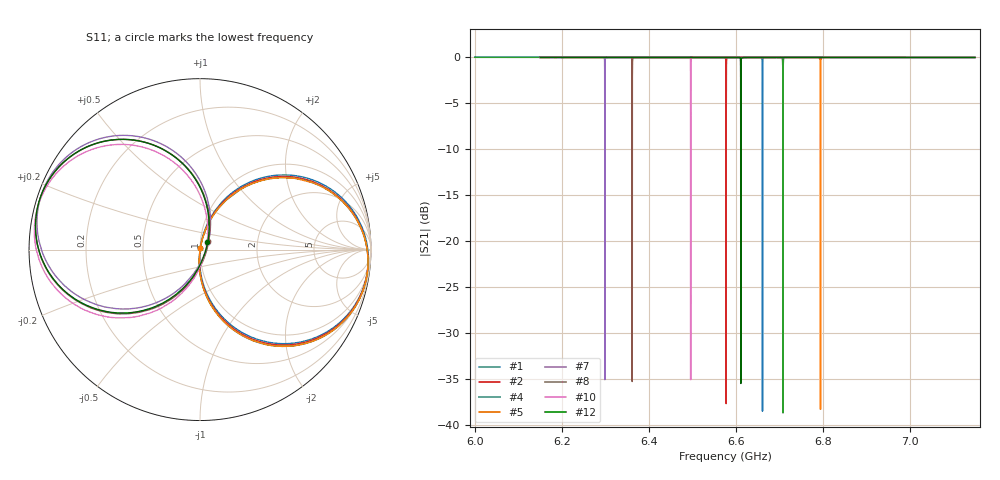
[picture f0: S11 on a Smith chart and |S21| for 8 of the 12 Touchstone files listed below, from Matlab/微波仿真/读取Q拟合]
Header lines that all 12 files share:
! Sonnet Data File
! From: em Version : 14.52
! Data is De-embedded
# GHZ S MA R 50.00000
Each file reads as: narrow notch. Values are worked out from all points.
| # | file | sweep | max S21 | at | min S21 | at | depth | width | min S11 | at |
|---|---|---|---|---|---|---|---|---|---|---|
| 1 | RO_1.s2p | 6 GHz to 6.8 GHz | 0.00 dB | 6.6875 GHz | -38.5 dB | 6.6612 GHz | 38.4 dB | 55.7 kHz | -60.4 dB | 6.6875 GHz |
| 2 | RO_1_V2.s2p | 6.2 GHz to 6.7 GHz | 0.00 dB | 6.61 GHz | -37.7 dB | 6.5777 GHz | 37.5 dB | 52.5 kHz | -64.0 dB | 6.604 GHz |
| 3 | RO_2.s2p | 6 GHz to 6.8 GHz | 0.00 dB | 6.715 GHz | -38.5 dB | 6.69 GHz | 38.5 dB | 55.7 kHz | -62.6 dB | 6.715 GHz |
| 4 | RO_3.s2p | 6 GHz to 6.8 GHz | 0.00 dB | 6.7325 GHz | -38.7 dB | 6.7084 GHz | 38.0 dB | 54.2 kHz | -62.2 dB | 6.7325 GHz |
| 5 | RO_3_V2.s2p | 6.5 GHz to 6.99 GHz | 0.00 dB | 6.822 GHz | -38.3 dB | 6.7947 GHz | 38.2 dB | 58.7 kHz | -62.7 dB | 6.822 GHz |
| 6 | w0.s2p | 6.15 GHz to 7.15 GHz | 0.00 dB | 6.2366 GHz | -34.6 dB | 6.2394 GHz | 34.3 dB | 41.6 kHz | -30.3 dB | 6.2366 GHz |
| 7 | w1.s2p | 6.15 GHz to 7.15 GHz | -0.01 dB | 6.2956 GHz | -35.1 dB | 6.2986 GHz | 34.8 dB | 43 kHz | -29.4 dB | 6.2958 GHz |
| 8 | w2.s2p | 6.15 GHz to 7.15 GHz | -0.01 dB | 6.3586 GHz | -35.3 dB | 6.3616 GHz | 34.9 dB | 43.8 kHz | -28.3 dB | 6.3588 GHz |
| 9 | w3.s2p | 6.15 GHz to 7.15 GHz | -0.01 dB | 6.4114 GHz | -35.0 dB | 6.4146 GHz | 34.8 dB | 43.4 kHz | -29.4 dB | 6.4114 GHz |
| 10 | w4.s2p | 6.15 GHz to 7.15 GHz | -0.01 dB | 6.4926 GHz | -35.1 dB | 6.4961 GHz | 34.8 dB | 43.9 kHz | -29.5 dB | 6.4926 GHz |
| 11 | w5.s2p | 6.15 GHz to 7.15 GHz | -0.01 dB | 6.547 GHz | -35.9 dB | 6.5502 GHz | 35.4 dB | 46.2 kHz | -28.9 dB | 6.5472 GHz |
| 12 | w6.s2p | 6.15 GHz to 7.15 GHz | -0.01 dB | 6.6078 GHz | -35.5 dB | 6.6113 GHz | 35.4 dB | 46.6 kHz | -29.5 dB | 6.6078 GHz |
